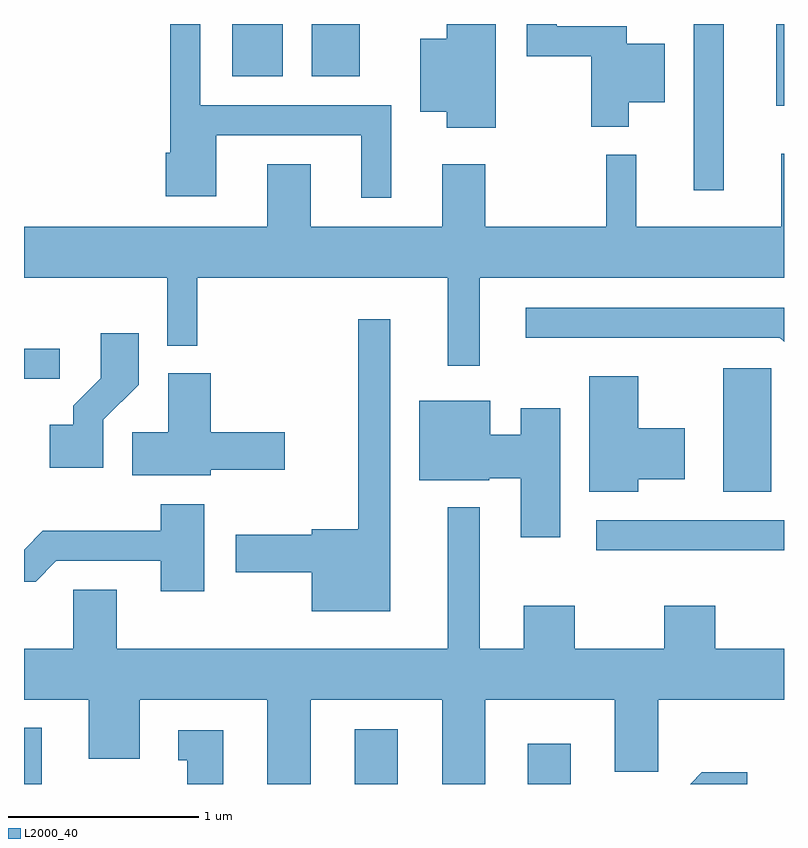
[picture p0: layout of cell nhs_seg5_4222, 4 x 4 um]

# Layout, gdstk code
import gdstk
lib = gdstk.Library(unit=1e-6, precision=1e-09)
def R(c, l, rs):  # rectangles x0, y0, x1, y1
    for r in rs: c.add(gdstk.rectangle(r[:2], r[2:], *l))
def P(c, l, *ps):  # polygons
    for p in ps: c.add(gdstk.Polygon(p, *l))
L2000_40 = (2000, 40)

nhs_seg5_4222 = lib.new_cell('nhs_seg5_4222')
R(nhs_seg5_4222, L2000_40, [(309.611,1514.072,309.704,1514.368), (311.351,1514.072,311.579,1514.359), (312.261,1514.072,312.489,1514.284), (312.623,1515.301,313.611,1515.459), (313.291,1515.611,313.544,1516.259), (309.611,1516.206,309.798,1516.364), (313.136,1517.198,313.294,1518.072), (313.571,1517.641,313.611,1518.072), (310.706,1517.796,310.974,1518.072), (311.126,1517.796,311.379,1518.072)])
P(nhs_seg5_4222, L2000_40, [(312.794,1517.661),(312.984,1517.661),(312.984,1517.969),(312.784,1517.969),(312.784,1518.059),(312.414,1518.059),(312.414,1518.072),(312.256,1518.072),(312.256,1517.901),(312.596,1517.901),(312.596,1517.531),(312.794,1517.531)],
  [(312.094,1518.072),(311.836,1518.072),(311.836,1517.994),(311.696,1517.994),(311.696,1517.611),(311.836,1517.611),(311.836,1517.526),(312.094,1517.526)],
  [(311.544,1517.644),(310.539,1517.644),(310.539,1518.072),(310.381,1518.072),(310.381,1517.394),(310.356,1517.394),(310.356,1517.166),(310.624,1517.166),(310.624,1517.486),(311.386,1517.486),(311.386,1517.158),(311.544,1517.158)],
  [(311.841,1516.273),(312.009,1516.273),(312.009,1516.736),(313.611,1516.736),(313.611,1517.388),(313.596,1517.388),(313.596,1517.004),(312.834,1517.004),(312.834,1517.383),(312.676,1517.383),(312.676,1517.004),(312.039,1517.004),(312.039,1517.334),(311.811,1517.334),(311.811,1517.004),(311.119,1517.004),(311.119,1517.334),(310.891,1517.334),(310.891,1517.004),(309.611,1517.004),(309.611,1516.736),(310.366,1516.736),(310.366,1516.378),(310.524,1516.378),(310.524,1516.736),(311.841,1516.736)],
  [(313.611,1516.579),(312.253,1516.579),(312.253,1516.421),(313.589,1516.421),(313.611,1516.399)],
  [(311.539,1516.518),(311.371,1516.518),(311.371,1515.414),(311.126,1515.414),(311.126,1515.384),(310.726,1515.384),(310.726,1515.186),(311.126,1515.186),(311.126,1514.981),(311.539,1514.981)],
  [(310.029,1515.989),(310.214,1516.174),(310.214,1516.444),(310.016,1516.444),(310.016,1516.207),(309.871,1516.062),(309.871,1515.964),(309.746,1515.964),(309.746,1515.736),(310.029,1515.736)],
  [(310.594,1515.726),(310.984,1515.726),(310.984,1515.924),(310.594,1515.924),(310.594,1516.234),(310.371,1516.234),(310.371,1515.924),(310.181,1515.924),(310.181,1515.696),(310.594,1515.696)],
  [(312.844,1515.676),(313.089,1515.676),(313.089,1515.944),(312.844,1515.944),(312.844,1516.219),(312.586,1516.219),(312.586,1515.611),(312.844,1515.611)],
  [(312.434,1516.049),(312.226,1516.049),(312.226,1515.909),(312.064,1515.909),(312.064,1516.089),(311.691,1516.089),(311.691,1515.671),(312.06,1515.671),(312.06,1515.681),(312.226,1515.681),(312.226,1515.371),(312.434,1515.371)],
  [(310.559,1515.544),(310.331,1515.544),(310.331,1515.404),(309.709,1515.404),(309.611,1515.306),(309.611,1515.136),(309.672,1515.136),(309.782,1515.246),(310.331,1515.246),(310.331,1515.086),(310.559,1515.086)],
  [(312.721,1514.136),(312.949,1514.136),(312.949,1514.516),(313.611,1514.516),(313.611,1514.784),(313.249,1514.784),(313.249,1515.009),(312.981,1515.009),(312.981,1514.784),(312.509,1514.784),(312.509,1515.009),(312.241,1515.009),(312.241,1514.784),(312.009,1514.784),(312.009,1515.528),(311.841,1515.528),(311.841,1514.784),(310.099,1514.784),(310.099,1515.094),(309.871,1515.094),(309.871,1514.784),(309.611,1514.784),(309.611,1514.516),(309.951,1514.516),(309.951,1514.206),(310.219,1514.206),(310.219,1514.516),(310.891,1514.516),(310.891,1514.072),(311.119,1514.072),(311.119,1514.516),(311.811,1514.516),(311.811,1514.072),(312.039,1514.072),(312.039,1514.516),(312.721,1514.516)],
  [(310.659,1514.354),(310.423,1514.354),(310.423,1514.196),(310.471,1514.196),(310.471,1514.072),(310.659,1514.072)],
  [(313.418,1514.134),(313.179,1514.134),(313.117,1514.072),(313.418,1514.072)])

lib.write_gds('nhs_seg5_4222.gds')
